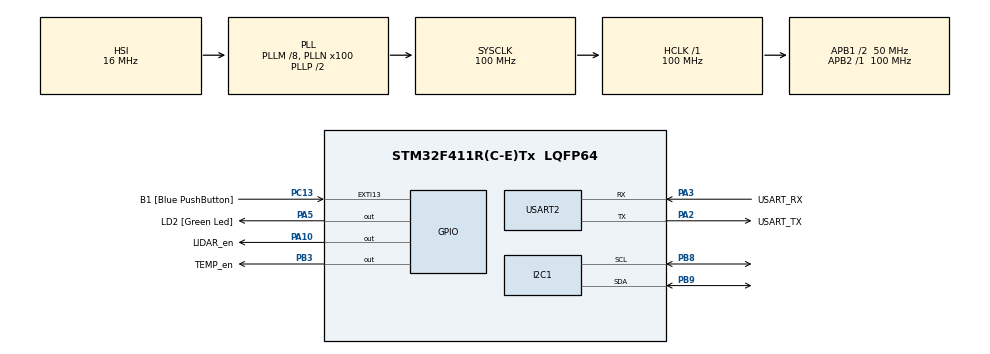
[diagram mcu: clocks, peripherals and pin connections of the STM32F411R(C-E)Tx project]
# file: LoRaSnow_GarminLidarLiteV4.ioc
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I2C1.I2C_Mode=I2C_Fast
Mcu.Family=STM32F4
Mcu.Name=STM32F411R(C-E)Tx
Mcu.Package=LQFP64
NVIC.PriorityGroup=NVIC_PRIORITYGROUP_0
PA10.GPIO_Label=LIDAR_en
PA10.Signal=GPIO_Output
PA13.GPIO_Label=TMS
PA13.Mode=Serial_Wire
PA13.Signal=SYS_JTMS-SWDIO
PA14.GPIO_Label=TCK
PA14.Mode=Serial_Wire
PA14.Signal=SYS_JTCK-SWCLK
PA2.GPIO_Label=USART_TX
PA2.Mode=Asynchronous
PA2.Signal=USART2_TX
PA3.GPIO_Label=USART_RX
PA3.Mode=Asynchronous
PA3.Signal=USART2_RX
PA5.GPIO_Label=LD2 [Green Led]
PA5.Signal=GPIO_Output
PB3.GPIO_Label=TEMP_en
PB3.Signal=GPIO_Output
PB8.Mode=I2C
PB8.Signal=I2C1_SCL
PB9.Mode=I2C
PB9.Signal=I2C1_SDA
PC13-ANTI_TAMP.GPIO_Label=B1 [Blue PushButton]
PC13-ANTI_TAMP.GPIO_ModeDefaultEXTI=GPIO_MODE_IT_FALLING
PC13-ANTI_TAMP.Signal=GPXTI13
PC14-OSC32_IN.Mode=LSE-External-Oscillator
PC14-OSC32_IN.Signal=RCC_OSC32_IN
PC15-OSC32_OUT.Mode=LSE-External-Oscillator
PC15-OSC32_OUT.Signal=RCC_OSC32_OUT
PH0\ -\ OSC_IN.Mode=HSE-External-Clock-Source
PH0\ -\ OSC_IN.Signal=RCC_OSC_IN
PH1\ -\ OSC_OUT.Mode=HSE-External-Clock-Source
PH1\ -\ OSC_OUT.Signal=RCC_OSC_OUT
ProjectManager.HeapSize=0x200
ProjectManager.StackSize=0x400
ProjectManager.TargetToolchain=STM32CubeIDE
RCC.48MHZClocksFreq_Value=50000000
RCC.AHBFreq_Value=100000000
RCC.APB1CLKDivider=RCC_HCLK_DIV2
RCC.APB1Freq_Value=50000000
RCC.APB1TimFreq_Value=100000000
RCC.APB2Freq_Value=100000000
RCC.APB2TimFreq_Value=100000000
RCC.CortexFreq_Value=100000000
RCC.FLatency-AdvancedSettings=FLASH_LATENCY_3
RCC.HCLKFreq_Value=100000000
RCC.HSE_VALUE=8000000
RCC.HSI_VALUE=16000000
RCC.PLLM=8
RCC.PLLN=100
RCC.SYSCLKFreq_VALUE=100000000
RCC.SYSCLKSource=RCC_SYSCLKSOURCE_PLLCLK
RCC.VCOOutputFreq_Value=200000000
USART2.VirtualMode=VM_ASYNC
board=NUCLEO-F411RE

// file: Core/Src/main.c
/* USER CODE BEGIN Header */
/**
  ******************************************************************************
  * @file           : main.c
  * @brief          : Main program body
  ******************************************************************************
  * @attention
  *
  * <h2><center>&copy; Copyright (c) 2021 STMicroelectronics.
  * All rights reserved.</center></h2>
  *
  * This software component is licensed by ST under BSD 3-Clause license,
  * the "License"; You may not use this file except in compliance with the
  * License. You may obtain a copy of the License at:
  *                        opensource.org/licenses/BSD-3-Clause
  *
  ******************************************************************************
  */
/* USER CODE END Header */
#include "main.h"

/* USER CODE BEGIN Includes */

#include <stdbool.h>
#include <string.h>
#include <stdio.h>
#include <math.h>

#include "../Sensors/Inc/LIDARLite_v4LED.h"
#include "../Sensors/Inc/LIDAR_functions.h"

/* USER CODE END Includes */

I2C_HandleTypeDef hi2c1;

UART_HandleTypeDef huart2;

void SystemClock_Config(void);
static void MX_GPIO_Init(void);
static void MX_USART2_UART_Init(void);
static void MX_I2C1_Init(void);

int main(void)
{
  /* USER CODE BEGIN 1 */

	//Variables
	LIDARLite_TypeDef lidar;						//Our LIDAR
	float lidarAngle = 45, roadAngle = 0;		//Lidar angle from vertical and road angle from plane in degrees

  /* USER CODE END 1 */

  /* MCU Configuration--------------------------------------------------------*/

  /* Reset of all peripherals, Initializes the Flash interface and the Systick. */
  HAL_Init();

  /* Configure the system clock */
  SystemClock_Config();

  /* Initialize all configured peripherals */
  MX_GPIO_Init();
  MX_USART2_UART_Init();
  MX_I2C1_Init();

  /* Infinite loop */
  /* USER CODE BEGIN WHILE */

  //Convert angle from deg to rad
  lidarAngle *= M_PI/180;
  roadAngle *= M_PI/180;

  //Enable temperature and LIDAR
  HAL_GPIO_WritePin(LIDAR_en_GPIO_Port, LIDAR_en_Pin, GPIO_PIN_SET);
  //HAL_GPIO_WritePin(TEMP_en_GPIO_Port, TEMP_en_Pin, GPIO_PIN_SET); //Todo resolder pin

  LIDARfc_init(&huart2, &lidar, &hi2c1, lidarAngle, roadAngle);  //Init LIDAR connection

  //Take reference distance to ground (no snow)
  LIDARfc_saveRefDistance();

  bool stay = true;

  while (1)
  {
	  while(stay)
	  {
		  HAL_StatusTypeDef ret = HAL_UART_Receive(&huart2, str, 1, HAL_MAX_DELAY);
		  if(ret == HAL_OK)
		  {
			  stay = false;
		  }
	  }

	  stay = true;

	  /*if(/*!HAL_GPIO_ReadPin(GPIOC, GPIO_PIN_13))	//User button to start measurement
	  {*/
		  LIDARfc_measureOffset();
	  //}

		  //HAL_Delay(30000);

    /* USER CODE END WHILE */

  }
}

void SystemClock_Config(void)
{
  RCC_OscInitTypeDef RCC_OscInitStruct = {0};
  RCC_ClkInitTypeDef RCC_ClkInitStruct = {0};

  /** Configure the main internal regulator output voltage
  */
  __HAL_RCC_PWR_CLK_ENABLE();
  __HAL_PWR_VOLTAGESCALING_CONFIG(PWR_REGULATOR_VOLTAGE_SCALE1);
  /** Initializes the RCC Oscillators according to the specified parameters
  * in the RCC_OscInitTypeDef structure.
  */
  RCC_OscInitStruct.OscillatorType = RCC_OSCILLATORTYPE_HSI;
  RCC_OscInitStruct.HSIState = RCC_HSI_ON;
  RCC_OscInitStruct.HSICalibrationValue = RCC_HSICALIBRATION_DEFAULT;
  RCC_OscInitStruct.PLL.PLLState = RCC_PLL_ON;
  RCC_OscInitStruct.PLL.PLLSource = RCC_PLLSOURCE_HSI;
  RCC_OscInitStruct.PLL.PLLM = 8;
  RCC_OscInitStruct.PLL.PLLN = 100;
  RCC_OscInitStruct.PLL.PLLP = RCC_PLLP_DIV2;
  RCC_OscInitStruct.PLL.PLLQ = 4;
  if (HAL_RCC_OscConfig(&RCC_OscInitStruct) != HAL_OK)
  {
    Error_Handler();
  }
  /** Initializes the CPU, AHB and APB buses clocks
  */
  RCC_ClkInitStruct.ClockType = RCC_CLOCKTYPE_HCLK|RCC_CLOCKTYPE_SYSCLK
                              |RCC_CLOCKTYPE_PCLK1|RCC_CLOCKTYPE_PCLK2;
  RCC_ClkInitStruct.SYSCLKSource = RCC_SYSCLKSOURCE_PLLCLK;
  RCC_ClkInitStruct.AHBCLKDivider = RCC_SYSCLK_DIV1;
  RCC_ClkInitStruct.APB1CLKDivider = RCC_HCLK_DIV2;
  RCC_ClkInitStruct.APB2CLKDivider = RCC_HCLK_DIV1;

  if (HAL_RCC_ClockConfig(&RCC_ClkInitStruct, FLASH_LATENCY_3) != HAL_OK)
  {
    Error_Handler();
  }
}

static void MX_I2C1_Init(void)
{

  hi2c1.Instance = I2C1;
  hi2c1.Init.ClockSpeed = 400000;
  hi2c1.Init.DutyCycle = I2C_DUTYCYCLE_2;
  hi2c1.Init.OwnAddress1 = 0;
  hi2c1.Init.AddressingMode = I2C_ADDRESSINGMODE_7BIT;
  hi2c1.Init.DualAddressMode = I2C_DUALADDRESS_DISABLE;
  hi2c1.Init.OwnAddress2 = 0;
  hi2c1.Init.GeneralCallMode = I2C_GENERALCALL_DISABLE;
  hi2c1.Init.NoStretchMode = I2C_NOSTRETCH_DISABLE;
  if (HAL_I2C_Init(&hi2c1) != HAL_OK)
  {
    Error_Handler();
  }

}

static void MX_USART2_UART_Init(void)
{

  huart2.Instance = USART2;
  huart2.Init.BaudRate = 115200;
  huart2.Init.WordLength = UART_WORDLENGTH_8B;
  huart2.Init.StopBits = UART_STOPBITS_1;
  huart2.Init.Parity = UART_PARITY_NONE;
  huart2.Init.Mode = UART_MODE_TX_RX;
  huart2.Init.HwFlowCtl = UART_HWCONTROL_NONE;
  huart2.Init.OverSampling = UART_OVERSAMPLING_16;
  if (HAL_UART_Init(&huart2) != HAL_OK)
  {
    Error_Handler();
  }

}

static void MX_GPIO_Init(void)
{
  GPIO_InitTypeDef GPIO_InitStruct = {0};

  /* GPIO Ports Clock Enable */
  __HAL_RCC_GPIOC_CLK_ENABLE();
  __HAL_RCC_GPIOH_CLK_ENABLE();
  __HAL_RCC_GPIOA_CLK_ENABLE();
  __HAL_RCC_GPIOB_CLK_ENABLE();

  /*Configure GPIO pin Output Level */
  HAL_GPIO_WritePin(GPIOA, LD2_Pin|LIDAR_en_Pin, GPIO_PIN_RESET);

  /*Configure GPIO pin Output Level */
  HAL_GPIO_WritePin(TEMP_en_GPIO_Port, TEMP_en_Pin, GPIO_PIN_RESET);

  /*Configure GPIO pin : B1_Pin */
  GPIO_InitStruct.Pin = B1_Pin;
  GPIO_InitStruct.Mode = GPIO_MODE_IT_FALLING;
  GPIO_InitStruct.Pull = GPIO_NOPULL;
  HAL_GPIO_Init(B1_GPIO_Port, &GPIO_InitStruct);

  /*Configure GPIO pins : LD2_Pin LIDAR_en_Pin */
  GPIO_InitStruct.Pin = LD2_Pin|LIDAR_en_Pin;
  GPIO_InitStruct.Mode = GPIO_MODE_OUTPUT_PP;
  GPIO_InitStruct.Pull = GPIO_NOPULL;
  GPIO_InitStruct.Speed = GPIO_SPEED_FREQ_LOW;
  HAL_GPIO_Init(GPIOA, &GPIO_InitStruct);

  /*Configure GPIO pin : TEMP_en_Pin */
  GPIO_InitStruct.Pin = TEMP_en_Pin;
  GPIO_InitStruct.Mode = GPIO_MODE_OUTPUT_PP;
  GPIO_InitStruct.Pull = GPIO_NOPULL;
  GPIO_InitStruct.Speed = GPIO_SPEED_FREQ_LOW;
  HAL_GPIO_Init(TEMP_en_GPIO_Port, &GPIO_InitStruct);

}

void Error_Handler(void)
{
  __disable_irq();
  while (1)
  {
  }
}

/************************ (C) COPYRIGHT STMicroelectronics *****END OF FILE****/
